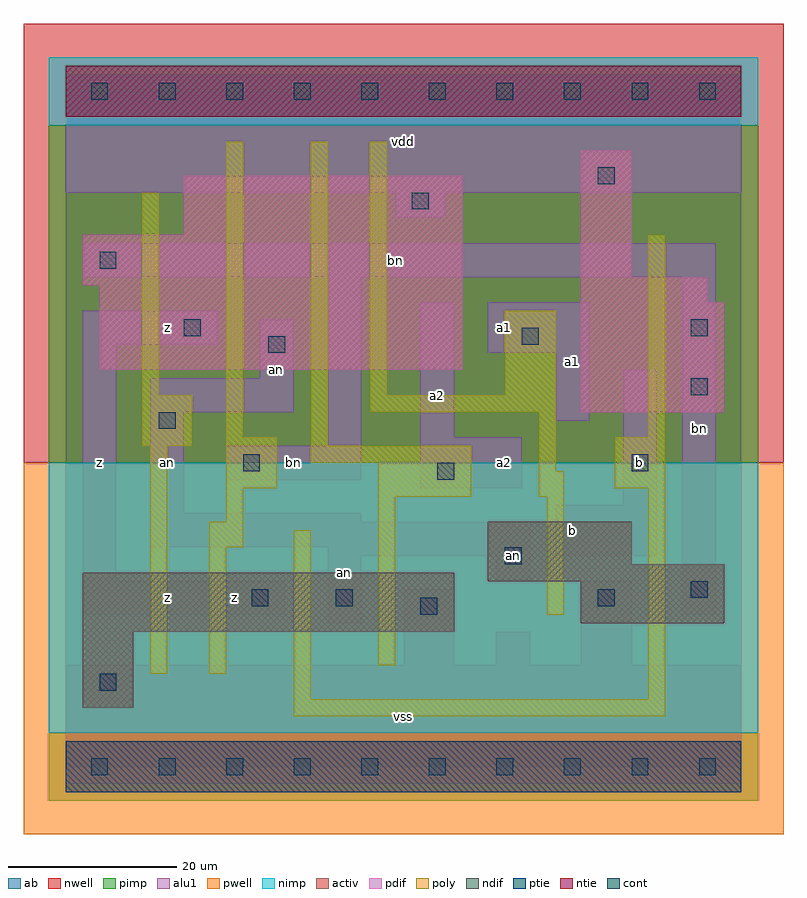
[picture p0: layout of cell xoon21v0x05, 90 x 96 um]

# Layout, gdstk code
import gdstk
lib = gdstk.Library(unit=1e-6, precision=1e-09)
def R(c, l, rs):  # rectangles x0, y0, x1, y1
    for r in rs: c.add(gdstk.rectangle(r[:2], r[2:], *l))
def A(c, l, x, y, w, h, nx, ny, dx, dy):  # array of equal rectangles
    R(c, l, [(x+i*dx, y+j*dy, x+i*dx+w, y+j*dy+h) for i in range(nx) for j in range(ny)])
ndif = (3, 0)
pdif = (4, 0)
ntie = (5, 0)
ptie = (6, 0)
cont = (25, 0)
pwell = (41, 0)
nwell = (42, 0)
activ = (43, 0)
pimp = (44, 0)
nimp = (45, 0)
poly = (46, 0)
alu1 = (49, 0)
ab = (63, 0)

xoon21v0x05 = lib.new_cell('xoon21v0x05')
R(xoon21v0x05, ndif, [(2,7,8,16), (2,16,46,23), (61,17,78,22), (50,22,78,24), (50,24,67,29)])
R(xoon21v0x05, pdif, [(61,42,78,55), (4,47,47,57), (61,55,76,58), (2,57,47,63), (61,58,67,73), (14,63,47,70)])
R(xoon21v0x05, ntie, [(0,77,80,83)])
R(xoon21v0x05, ptie, [(0,-3,80,3)])
A(xoon21v0x05, cont, 3, -1, 2, 2, 10, 2, 8, 80)
R(xoon21v0x05, cont, [(4,9,6,11), (42,18,44,20), (22,19,24,21), (32,19,34,21), (63,19,65,21), (74,20,76,22), (52,24,54,26), (44,34,46,36), (21,35,23,37), (67,35,69,37), (11,40,13,42), (74,44,76,46), (24,49,26,51), (54,50,56,52), (14,51,16,53), (74,51,76,53), (4,59,6,61), (41,66,43,68), (63,69,65,71)])
R(xoon21v0x05, pwell, [(-5,-8,85,36)])
R(xoon21v0x05, nwell, [(-5,36,85,88)])
R(xoon21v0x05, activ, [(0,-3,80,3), (2,7,8,16), (2,16,46,23), (61,17,78,22), (50,22,78,24), (50,24,67,29), (61,42,78,55), (4,47,47,57), (61,55,76,58), (2,57,47,63), (61,58,67,73), (14,63,47,70), (0,77,80,83)])
R(xoon21v0x05, pimp, [(-2,-4,82,4), (-2,36,82,76)])
R(xoon21v0x05, nimp, [(-2,4,82,36), (-2,76,82,84)])
R(xoon21v0x05, poly, [(27,6,71,8), (27,8,29,28), (69,8,71,33), (10,11,12,38), (17,11,19,26), (37,12,39,32), (57,18,59,32), (17,26,21,29), (19,29,21,33), (37,32,48,36), (56,32,59,35), (19,33,25,39), (65,33,71,39), (56,35,58,42), (29,36,48,38), (9,38,15,44), (29,38,31,74), (19,39,21,74), (69,39,71,63), (36,42,58,44), (9,44,11,68), (36,44,38,74), (52,44,58,54)])
R(xoon21v0x05, alu1, [(0,-2,80,12), (40,12,46,21), (51,12,55,16), (61,12,67,22), (31,17,35,25), (2,18,26,22), (73,18,77,58), (2,22,6,50), (51,22,55,25), (31,25,55,26), (58,25,70,31), (10,26,55,29), (10,29,35,30), (10,30,14,42), (66,31,70,47), (42,33,54,39), (19,34,35,38), (31,38,35,58), (42,39,46,55), (58,41,62,49), (10,42,27,46), (23,46,27,53), (50,49,62,55), (2,50,18,54), (2,58,77,62), (39,65,45,68), (0,68,80,82)])
R(xoon21v0x05, ab, [(0,0,80,80)])
xoon21v0x05.add(gdstk.Label('an', (12,36), layer=49, texttype=0))
xoon21v0x05.add(gdstk.Label('an', (33,23), layer=49, texttype=0))
xoon21v0x05.add(gdstk.Label('bn', (27,36), layer=49, texttype=0))
xoon21v0x05.add(gdstk.Label('an', (25,47), layer=49, texttype=0))
xoon21v0x05.add(gdstk.Label('an', (53,25), layer=49, texttype=0))
xoon21v0x05.add(gdstk.Label('bn', (39,60), layer=49, texttype=0))
xoon21v0x05.add(gdstk.Label('bn', (75,40), layer=49, texttype=0))
xoon21v0x05.add(gdstk.Label('z', (12,20), layer=49, texttype=0))
xoon21v0x05.add(gdstk.Label('z', (4,36), layer=49, texttype=0))
xoon21v0x05.add(gdstk.Label('z', (12,52), layer=49, texttype=0))
xoon21v0x05.add(gdstk.Label('z', (20,20), layer=49, texttype=0))
xoon21v0x05.add(gdstk.Label('vss', (40,6), layer=49, texttype=0))
xoon21v0x05.add(gdstk.Label('a2', (52,36), layer=49, texttype=0))
xoon21v0x05.add(gdstk.Label('a2', (44,44), layer=49, texttype=0))
xoon21v0x05.add(gdstk.Label('a1', (52,52), layer=49, texttype=0))
xoon21v0x05.add(gdstk.Label('vdd', (40,74), layer=49, texttype=0))
xoon21v0x05.add(gdstk.Label('b', (60,28), layer=49, texttype=0))
xoon21v0x05.add(gdstk.Label('b', (68,36), layer=49, texttype=0))
xoon21v0x05.add(gdstk.Label('a1', (60,48), layer=49, texttype=0))

lib.write_gds('xoon21v0x05.gds')
